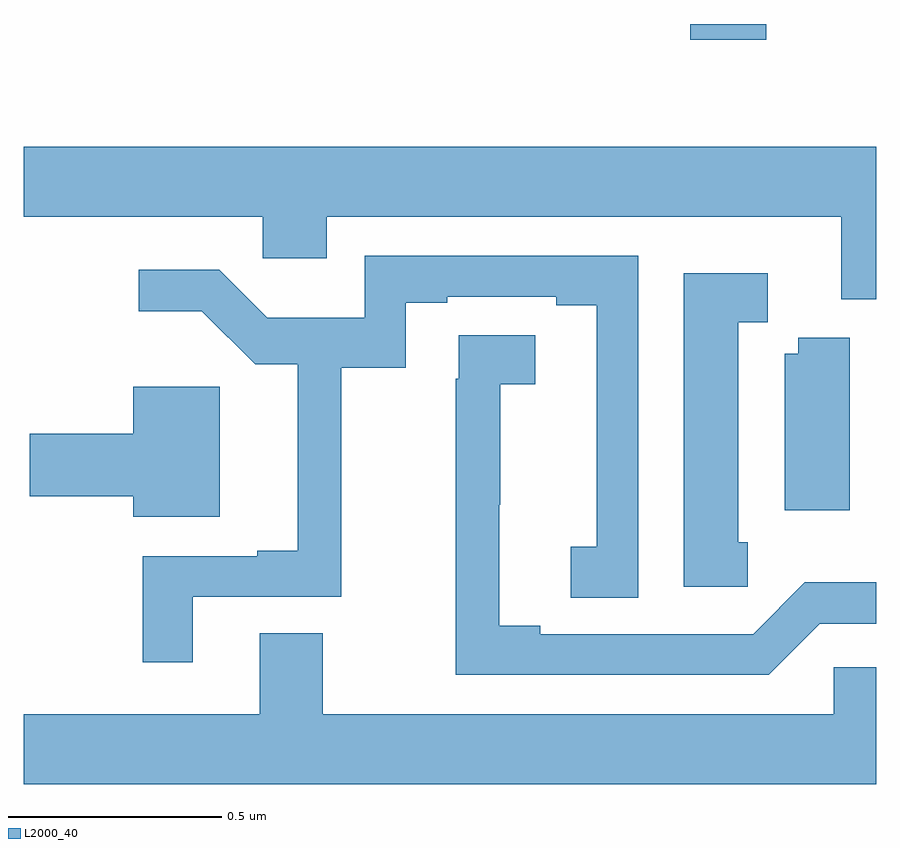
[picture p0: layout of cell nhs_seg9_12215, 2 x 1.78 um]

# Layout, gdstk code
import gdstk
lib = gdstk.Library(unit=1e-6, precision=1e-09)
def R(c, l, rs):  # rectangles x0, y0, x1, y1
    for r in rs: c.add(gdstk.rectangle(r[:2], r[2:], *l))
def P(c, l, *ps):  # polygons
    for p in ps: c.add(gdstk.Polygon(p, *l))
L2000_40 = (2000, 40)

nhs_seg9_12215 = lib.new_cell('nhs_seg9_12215')
R(nhs_seg9_12215, L2000_40, [(266.564,1235.463,266.742,1235.5)])
P(nhs_seg9_12215, L2000_40, [(267,1235.212),(265,1235.212),(265,1235.048),(265.56,1235.048),(265.56,1234.95),(265.711,1234.95),(265.711,1235.048),(266.918,1235.048),(266.918,1234.854),(267,1234.854)],
  [(265.396,1234.155),(265.745,1234.155),(265.745,1234.693),(265.896,1234.693),(265.896,1234.846),(265.993,1234.846),(265.993,1234.86),(266.249,1234.86),(266.249,1234.84),(266.345,1234.84),(266.345,1234.577),(266.344,1234.577),(266.344,1234.273),(266.283,1234.273),(266.283,1234.153),(266.442,1234.153),(266.442,1234.956),(265.8,1234.956),(265.8,1234.81),(265.571,1234.81),(265.458,1234.923),(265.269,1234.923),(265.269,1234.826),(265.417,1234.826),(265.543,1234.701),(265.643,1234.701),(265.643,1234.264),(265.547,1234.264),(265.547,1234.251),(265.279,1234.251),(265.279,1234.002),(265.396,1234.002)],
  [(266.699,1234.284),(266.677,1234.284),(266.677,1234.8),(266.746,1234.8),(266.746,1234.915),(266.549,1234.915),(266.549,1234.179),(266.699,1234.179)],
  [(266.868,1234.092),(267,1234.092),(267,1234.189),(266.833,1234.189),(266.712,1234.068),(266.212,1234.068),(266.212,1234.088),(266.116,1234.088),(266.116,1234.371),(266.118,1234.371),(266.118,1234.654),(266.2,1234.654),(266.2,1234.769),(266.02,1234.769),(266.02,1234.667),(266.014,1234.667),(266.014,1233.972),(266.748,1233.972)],
  [(266.938,1234.763),(266.818,1234.763),(266.818,1234.726),(266.786,1234.726),(266.786,1234.359),(266.938,1234.359)],
  [(265.459,1234.648),(265.256,1234.648),(265.256,1234.538),(265.014,1234.538),(265.014,1234.391),(265.256,1234.391),(265.256,1234.343),(265.459,1234.343)],
  [(267,1233.99),(266.901,1233.99),(266.901,1233.88),(265.701,1233.88),(265.701,1234.07),(265.553,1234.07),(265.553,1233.88),(265,1233.88),(265,1233.716),(267,1233.716)])

lib.write_gds('nhs_seg9_12215.gds')
